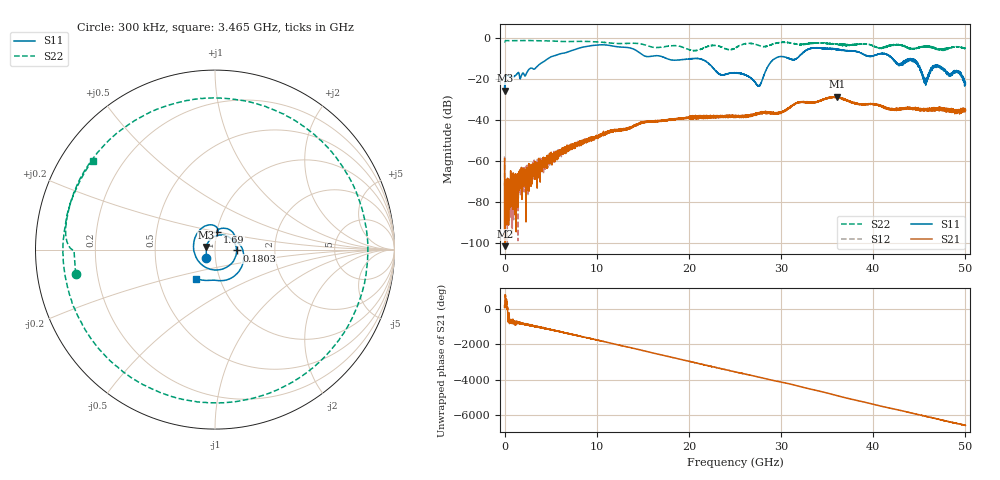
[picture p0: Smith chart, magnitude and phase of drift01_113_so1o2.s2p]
!Created with skrf (http://scikit-rf.org).
# Hz S RI R 50.0
!freq ReS11 ImS11 ReS21 ImS21 ReS12 ImS12 ReS22 ImS22
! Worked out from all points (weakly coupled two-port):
!   10001 points, 300 kHz to 50 GHz, reference 50 ohm
!   highest |S21| = -28.70 dB at 36.06 GHz (marker M1); lowest = -101.5 dB at 75.3 MHz (marker M2)
!   lowest |S11| = -25.8 dB at 5.3 MHz (marker M3), VSWR 1.11, Z = 45.3 + j1.4 ohm
!   |S11| at or under -10 dB: start of sweep to 4.769 GHz; 17.52 GHz to 29.37 GHz (11.85 GHz wide, 50.5 % of centre); 42.07 GHz to end of sweep (the widest 3 of 9)
!   |S22| runs from -6.4 to -1.4 dB; largest |S21 - S12| = 0.0035
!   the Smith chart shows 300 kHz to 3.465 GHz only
!   S11 on the Smith chart (normalised r, x): 300 kHz: 0.90, -0.08; 180.3 MHz: 1.27, -0.01; 1.69 GHz: 1.00, +0.20; 3.465 GHz: 0.77, -0.26
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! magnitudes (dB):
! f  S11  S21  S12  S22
! 300 kHz  -23.5  -58.9  -57.8  -2.1
! 5.3 MHz  -25.8  -98.0  -73.3  -2.1
! 75.3 MHz  -19.6  -101.5  -81.6  -1.5
! 180.3 MHz  -18.4  -77.4  -71.6  -1.4
! 285.3 MHz  -18.3  -74.4  -73.3  -1.4
! 1.69 GHz  -20.1  -71.6  -68.8  -1.4
! 3.465 GHz  -14.3  -64.3  -63.9  -1.5
! 8.335 GHz  -4.8  -50.4  -50.6  -1.8
! 16.67 GHz  -8.8  -40.6  -40.7  -4.8
! 21.22 GHz  -10.3  -38.8  -38.4  -5.7
! 25 GHz  -17.1  -38.9  -38.7  -5.1
! 27.59 GHz  -23.4  -36.8  -36.7  -3.8
! 29.28 GHz  -10.3  -37.0  -36.9  -2.9
! 31.47 GHz  -10.7  -32.3  -32.4  -2.9
! 33.34 GHz  -5.1  -31.6  -31.5  -2.7
! 36.06 GHz  -5.7  -28.7  -29.1  -3.2
! 41.67 GHz  -8.7  -35.0  -35.0  -4.0
! 42.79 GHz  -13.2  -34.5  -34.8  -3.6
! 44.48 GHz  -10.8  -34.6  -34.4  -5.3
! 45.63 GHz  -21.1  -34.5  -35.3  -4.3
! 46.93 GHz  -13.6  -34.4  -34.1  -5.4
! 50 GHz  -22.0  -35.1  -35.3  -5.4
